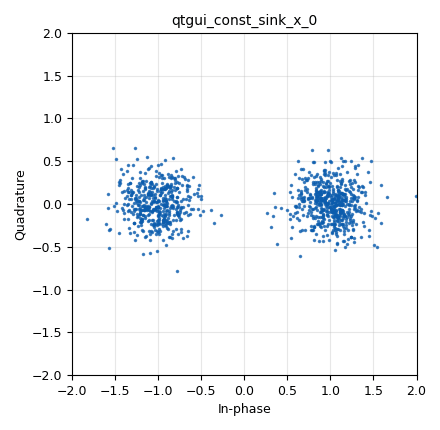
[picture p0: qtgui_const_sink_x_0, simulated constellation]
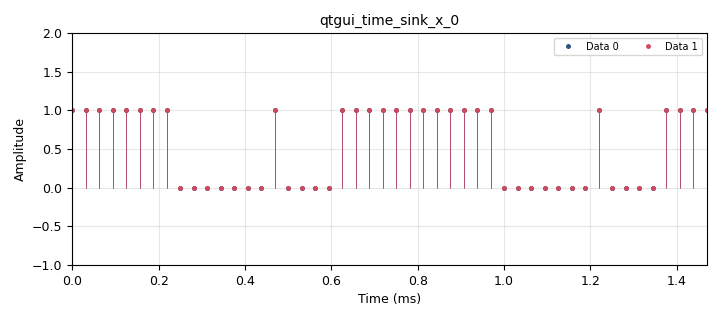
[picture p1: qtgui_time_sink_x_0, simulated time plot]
<?xml version='1.0' encoding='utf-8'?>
<?grc format='1' created='3.7.11'?>
<flow_graph>
<block>
<key>options</key>
<param><key>id</key><value>top_block</value></param>
<param><key>generate_options</key><value>qt_gui</value></param>
</block>
<block>
<key>variable_qtgui_range</key>
<param><key>id</key><value>EbN0</value></param>
<param><key>value</key><value>10</value></param>
<param><key>label</key><value>Eb / N0 (dB)</value></param>
<param><key>orient</key><value>Qt.Horizontal</value></param>
<param><key>start</key><value>-10</value></param>
<param><key>step</key><value>0.1</value></param>
<param><key>stop</key><value>20</value></param>
</block>
<block>
<key>variable</key>
<param><key>id</key><value>const</value></param>
<param><key>value</key><value>(digital.constellation_bpsk(), digital.constellation_qpsk(), digital.constellation_8psk())</value></param>
</block>
<block>
<key>variable</key>
<param><key>id</key><value>const_type</value></param>
<param><key>value</key><value>0</value></param>
</block>
<block>
<key>variable</key>
<param><key>id</key><value>samp_rate</value></param>
<param><key>value</key><value>32000</value></param>
</block>
<block>
<key>variable</key>
<param><key>id</key><value>samp_rate_0</value></param>
<param><key>value</key><value>100e3</value></param>
</block>
<block>
<key>variable_qtgui_label</key>
<param><key>id</key><value>variable_qtgui_label_0</value></param>
<param><key>value</key><value>{0: 'BPSK', 1: 'QPSK', 2: '8-PSK'}[const_type] + " - Change const_type for different constellation types!"</value></param>
<param><key>label</key><value>Constellation Type</value></param>
<param><key>type</key><value>string</value></param>
</block>
<block>
<key>analog_noise_source_x</key>
<param><key>id</key><value>analog_noise_source_x</value></param>
<param><key>amp</key><value>1.0 / math.sqrt(const[const_type].bits_per_symbol() * 10**(float(EbN0-0)/10))</value></param>
<param><key>comment</key><value>Subtrair -2.43 (-10log(7/4)) se for usando o código.</value></param>
<param><key>noise_type</key><value>analog.GR_GAUSSIAN</value></param>
<param><key>type</key><value>complex</value></param>
<param><key>seed</key><value>42</value></param>
</block>
<block>
<key>analog_random_source_x</key>
<param><key>id</key><value>analog_random_source_x_0</value></param>
<param><key>_enabled</key><value>0</value></param>
<param><key>max</key><value>256</value></param>
<param><key>min</key><value>0</value></param>
<param><key>num_samps</key><value>10</value></param>
<param><key>type</key><value>byte</value></param>
<param><key>repeat</key><value>True</value></param>
</block>
<block>
<key>blks2_error_rate</key>
<param><key>id</key><value>blks2_error_rate_0</value></param>
<param><key>bits_per_symbol</key><value>const[const_type].bits_per_symbol()</value></param>
<param><key>type</key><value>'BER'</value></param>
<param><key>win_size</key><value>int(1e7)</value></param>
</block>
<block>
<key>blocks_add_xx</key>
<param><key>id</key><value>blocks_add_xx_0</value></param>
<param><key>type</key><value>complex</value></param>
</block>
<block>
<key>blocks_throttle</key>
<param><key>id</key><value>blocks_throttle_0</value></param>
<param><key>samples_per_second</key><value>samp_rate*10</value></param>
<param><key>type</key><value>byte</value></param>
</block>
<block>
<key>blocks_uchar_to_float</key>
<param><key>id</key><value>blocks_uchar_to_float_0</value></param>
</block>
<block>
<key>blocks_uchar_to_float</key>
<param><key>id</key><value>blocks_uchar_to_float_1</value></param>
</block>
<block>
<key>blocks_unpack_k_bits_bb</key>
<param><key>id</key><value>blocks_unpack_k_bits_bb_0</value></param>
<param><key>k</key><value>8</value></param>
</block>
<block>
<key>blocks_vector_source_x</key>
<param><key>id</key><value>blocks_vector_source_x_0</value></param>
<param><key>type</key><value>byte</value></param>
<param><key>repeat</key><value>True</value></param>
<param><key>vector</key><value>(15, 255, 1)</value></param>
</block>
<block>
<key>digital_chunks_to_symbols_xx</key>
<param><key>id</key><value>digital_chunks_to_symbols_xx_0</value></param>
<param><key>dimension</key><value>1</value></param>
<param><key>in_type</key><value>byte</value></param>
<param><key>out_type</key><value>complex</value></param>
<param><key>symbol_table</key><value>const[const_type].points()</value></param>
</block>
<block>
<key>digital_constellation_decoder_cb</key>
<param><key>id</key><value>digital_constellation_decoder_cb_0_0</value></param>
<param><key>constellation</key><value>const[const_type].base()</value></param>
</block>
<block>
<key>import</key>
<param><key>id</key><value>import</value></param>
<param><key>import</key><value>import math</value></param>
</block>
<block>
<key>qtgui_const_sink_x</key>
<param><key>id</key><value>qtgui_const_sink_x_0</value></param>
<param><key>size</key><value>1024</value></param>
<param><key>type</key><value>complex</value></param>
</block>
<block>
<key>qtgui_number_sink</key>
<param><key>id</key><value>qtgui_number_sink_0_0</value></param>
<param><key>autoscale</key><value>True</value></param>
<param><key>graph_type</key><value>qtgui.NUM_GRAPH_HORIZ</value></param>
<param><key>type</key><value>float</value></param>
<param><key>factor1</key><value>1e6</value></param>
<param><key>label1</key><value>BER (Sem Hamming)</value></param>
<param><key>unit1</key><value>x10^-6</value></param>
<param><key>min</key><value>0</value></param>
</block>
<block>
<key>qtgui_time_sink_x</key>
<param><key>id</key><value>qtgui_time_sink_x_0</value></param>
<param><key>color1</key><value>"blue"</value></param>
<param><key>label1</key><value></value></param>
<param><key>marker1</key><value>0</value></param>
<param><key>style1</key><value>2</value></param>
<param><key>color2</key><value>"red"</value></param>
<param><key>label2</key><value></value></param>
<param><key>marker2</key><value>3</value></param>
<param><key>style2</key><value>2</value></param>
<param><key>nconnections</key><value>2</value></param>
<param><key>size</key><value>3*8*2</value></param>
<param><key>srate</key><value>samp_rate</value></param>
<param><key>stemplot</key><value>True</value></param>
<param><key>type</key><value>float</value></param>
<param><key>ymax</key><value>2</value></param>
</block>
<connection><source_block_id>analog_noise_source_x</source_block_id><sink_block_id>blocks_add_xx_0</sink_block_id><source_key>0</source_key><sink_key>1</sink_key></connection>
<connection><source_block_id>blks2_error_rate_0</source_block_id><sink_block_id>qtgui_number_sink_0_0</sink_block_id><source_key>0</source_key><sink_key>0</sink_key></connection>
<connection><source_block_id>blocks_add_xx_0</source_block_id><sink_block_id>digital_constellation_decoder_cb_0_0</sink_block_id><source_key>0</source_key><sink_key>0</sink_key></connection>
<connection><source_block_id>blocks_add_xx_0</source_block_id><sink_block_id>qtgui_const_sink_x_0</sink_block_id><source_key>0</source_key><sink_key>0</sink_key></connection>
<connection><source_block_id>blocks_throttle_0</source_block_id><sink_block_id>digital_chunks_to_symbols_xx_0</sink_block_id><source_key>0</source_key><sink_key>0</sink_key></connection>
<connection><source_block_id>blocks_uchar_to_float_0</source_block_id><sink_block_id>qtgui_time_sink_x_0</sink_block_id><source_key>0</source_key><sink_key>0</sink_key></connection>
<connection><source_block_id>blocks_uchar_to_float_1</source_block_id><sink_block_id>qtgui_time_sink_x_0</sink_block_id><source_key>0</source_key><sink_key>1</sink_key></connection>
<connection><source_block_id>blocks_unpack_k_bits_bb_0</source_block_id><sink_block_id>blks2_error_rate_0</sink_block_id><source_key>0</source_key><sink_key>1</sink_key></connection>
<connection><source_block_id>blocks_unpack_k_bits_bb_0</source_block_id><sink_block_id>blocks_throttle_0</sink_block_id><source_key>0</source_key><sink_key>0</sink_key></connection>
<connection><source_block_id>blocks_unpack_k_bits_bb_0</source_block_id><sink_block_id>blocks_uchar_to_float_0</sink_block_id><source_key>0</source_key><sink_key>0</sink_key></connection>
<connection><source_block_id>blocks_vector_source_x_0</source_block_id><sink_block_id>blocks_unpack_k_bits_bb_0</sink_block_id><source_key>0</source_key><sink_key>0</sink_key></connection>
<connection><source_block_id>digital_chunks_to_symbols_xx_0</source_block_id><sink_block_id>blocks_add_xx_0</sink_block_id><source_key>0</source_key><sink_key>0</sink_key></connection>
<connection><source_block_id>digital_constellation_decoder_cb_0_0</source_block_id><sink_block_id>blks2_error_rate_0</sink_block_id><source_key>0</source_key><sink_key>0</sink_key></connection>
<connection><source_block_id>digital_constellation_decoder_cb_0_0</source_block_id><sink_block_id>blocks_uchar_to_float_1</sink_block_id><source_key>0</source_key><sink_key>0</sink_key></connection>
</flow_graph>
